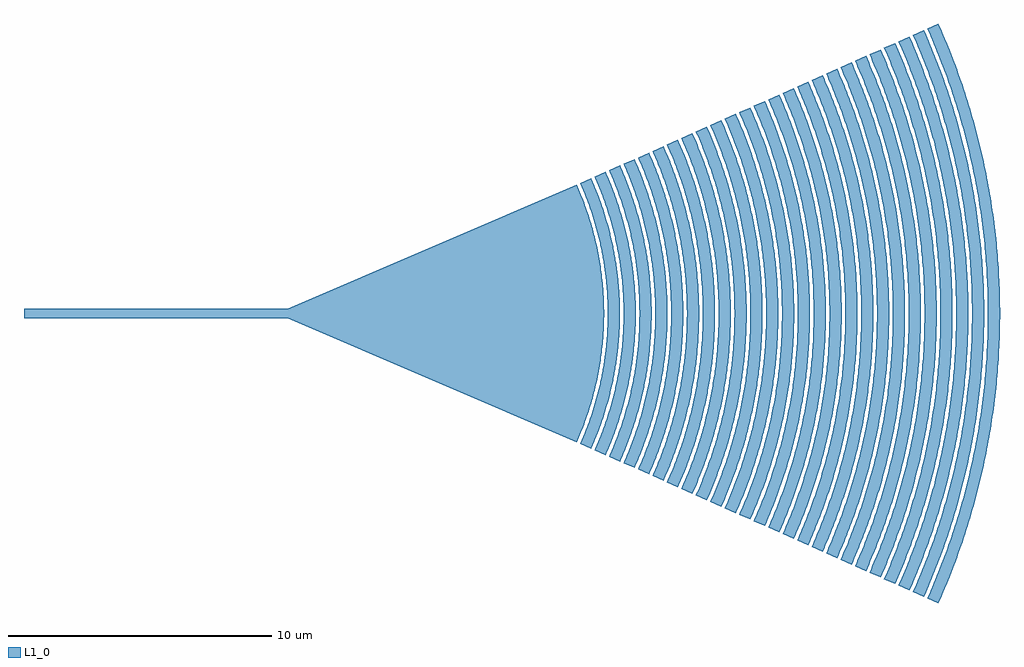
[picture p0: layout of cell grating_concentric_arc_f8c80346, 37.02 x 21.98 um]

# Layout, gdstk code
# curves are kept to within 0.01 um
import gdstk
lib = gdstk.Library(unit=1e-6, precision=2e-09)
def R(c, l, rs):  # rectangles x0, y0, x1, y1
    for r in rs: c.add(gdstk.rectangle(r[:2], r[2:], *l))
def P(c, l, *ps):  # polygons
    for p in ps: c.add(gdstk.Polygon(p, *l))
L1_0 = (1, 0)

straight_3aa2beef = lib.new_cell('straight_3aa2beef')
R(straight_3aa2beef, L1_0, [(0,-0.174,10,0.174)])

ring_f4adcfe0_transform_ = lib.new_cell('ring_f4adcfe0_transform_996c9cef')
P(ring_f4adcfe0_transform_, L1_0, [(11.094,-4.94),(11.338,-4.352),(11.506,-3.886),(11.674,-3.348),(11.8,-2.87),(11.948,-2.178),(12.036,-1.62),(12.092,-1.128),(12.134,-0.494),(12.144,0.142),(12.12,0.776),(12.054,1.48),(11.948,2.178),(11.784,2.938),(11.572,3.686),(11.338,4.352),(11.094,4.94),(11.512,5.126),(11.738,4.584),(11.962,3.964),(12.172,3.262),(12.37,2.404),(12.498,1.608),(12.57,0.878),(12.6,0.146),(12.588,-0.586),(12.516,-1.462),(12.37,-2.404),(12.172,-3.262),(11.938,-4.034),(11.738,-4.584),(11.512,-5.126)])

ring_cc76d167_transform_ = lib.new_cell('ring_cc76d167_transform_9d055fe6')
P(ring_cc76d167_transform_, L1_0, [(11.642,-5.184),(11.872,-4.636),(12.074,-4.08),(12.272,-3.442),(12.402,-2.94),(12.552,-2.214),(12.65,-1.554),(12.714,-0.89),(12.74,-0.37),(12.74,0.37),(12.69,1.184),(12.6,1.92),(12.482,2.578),(12.33,3.226),(12.144,3.868),(11.898,4.568),(11.642,5.184),(12.06,5.37),(12.352,4.66),(12.602,3.934),(12.81,3.194),(12.974,2.444),(13.094,1.686),(13.17,0.92),(13.202,0.076),(13.188,-0.614),(13.104,-1.608),(12.974,-2.444),(12.772,-3.342),(12.532,-4.152),(12.352,-4.66),(12.06,-5.37)])

ring_0f97517a_transform_ = lib.new_cell('ring_0f97517a_transform_7cc032cf')
P(ring_0f97517a_transform_, L1_0, [(12.192,-5.428),(12.46,-4.782),(12.644,-4.272),(12.85,-3.604),(13.004,-3.002),(13.086,-2.622),(13.216,-1.858),(13.302,-1.086),(13.338,-0.466),(13.344,0.232),(13.302,1.086),(13.216,1.858),(13.086,2.622),(12.93,3.304),(12.74,3.976),(12.46,4.782),(12.192,5.428),(12.608,5.614),(12.914,4.872),(13.2,4.036),(13.412,3.262),(13.564,2.554),(13.69,1.762),(13.774,0.882),(13.802,0.16),(13.788,-0.642),(13.7,-1.682),(13.564,-2.554),(13.392,-3.34),(13.246,-3.882),(13.102,-4.342),(12.886,-4.946),(12.608,-5.614)])

ring_10739e23_transform_ = lib.new_cell('ring_10739e23_transform_e5319485')
P(ring_10739e23_transform_, L1_0, [(12.74,-5.672),(12.9,-5.3),(13.16,-4.618),(13.384,-3.922),(13.552,-3.296),(13.706,-2.582),(13.822,-1.86),(13.894,-1.216),(13.938,-0.486),(13.938,0.486),(13.894,1.216),(13.822,1.86),(13.706,2.582),(13.492,3.532),(13.264,4.31),(13.02,4.998),(12.74,5.672),(13.158,5.858),(13.506,5.004),(13.774,4.21),(13.996,3.402),(14.17,2.584),(14.286,1.838),(14.374,0.922),(14.402,0.168),(14.388,-0.67),(14.306,-1.672),(14.17,-2.584),(13.934,-3.646),(13.646,-4.61),(13.386,-5.318),(13.158,-5.858)])

ring_61d46655_transform_ = lib.new_cell('ring_61d46655_transform_b06baf4c')
P(ring_61d46655_transform_, L1_0, [(13.29,-5.916),(13.52,-5.37),(13.782,-4.656),(14.03,-3.846),(14.212,-3.108),(14.326,-2.526),(14.428,-1.856),(14.506,-1.1),(14.538,-0.508),(14.546,0.17),(14.506,1.1),(14.406,2.024),(14.28,2.776),(14.094,3.602),(13.912,4.254),(13.67,4.976),(13.29,5.916),(13.706,6.102),(14.038,5.296),(14.296,4.554),(14.558,3.63),(14.728,2.862),(14.87,2.002),(14.954,1.22),(15.002,0.262),(14.992,-0.61),(14.922,-1.568),(14.776,-2.606),(14.558,-3.63),(14.27,-4.636),(13.976,-5.458),(13.706,-6.102)])

ring_662bcd47_transform_ = lib.new_cell('ring_662bcd47_transform_31ea02af')
P(ring_662bcd47_transform_, L1_0, [(13.838,-6.162),(14.078,-5.592),(14.322,-4.932),(14.512,-4.344),(14.76,-3.408),(14.918,-2.63),(15.024,-1.934),(15.098,-1.232),(15.142,-0.44),(15.142,0.44),(15.098,1.232),(14.988,2.196),(14.87,2.89),(14.698,3.664),(14.434,4.596),(14.142,5.428),(13.838,6.162),(14.256,6.346),(14.6,5.508),(14.896,4.648),(15.118,3.864),(15.318,2.978),(15.44,2.262),(15.56,1.18),(15.604,0.182),(15.592,-0.636),(15.528,-1.54),(15.44,-2.262),(15.368,-2.71),(15.184,-3.598),(14.896,-4.648),(14.6,-5.508),(14.256,-6.346)])

ring_48db991d_transform_ = lib.new_cell('ring_48db991d_transform_f4fe037c')
P(ring_48db991d_transform_, L1_0, [(14.386,-6.406),(14.67,-5.73),(14.92,-5.04),(15.164,-4.252),(15.324,-3.632),(15.476,-2.914),(15.62,-2.01),(15.704,-1.19),(15.742,-0.458),(15.742,0.458),(15.704,1.19),(15.608,2.1),(15.442,3.094),(15.236,3.988),(15.006,4.78),(14.67,5.73),(14.386,6.406),(14.804,6.592),(15.196,5.63),(15.47,4.828),(15.724,3.92),(15.908,3.092),(16.048,2.256),(16.152,1.318),(16.196,0.566),(16.196,-0.566),(16.126,-1.6),(16.006,-2.536),(15.908,-3.092),(15.79,-3.646),(15.628,-4.286),(15.47,-4.828),(15.196,-5.63),(14.804,-6.592)])

ring_787169b0_transform_ = lib.new_cell('ring_787169b0_transform_7dcaa34c')
P(ring_787169b0_transform_, L1_0, [(14.936,-6.65),(15.264,-5.858),(15.52,-5.142),(15.742,-4.414),(15.952,-3.584),(16.084,-2.932),(16.228,-1.992),(16.31,-1.14),(16.342,-0.476),(16.336,0.666),(16.27,1.614),(16.148,2.558),(16.012,3.306),(15.792,4.232),(15.578,4.962),(15.264,5.858),(14.936,6.65),(15.352,6.836),(15.69,6.022),(16.014,5.1),(16.234,4.35),(16.478,3.302),(16.656,2.242),(16.742,1.464),(16.796,0.586),(16.802,-0.392),(16.778,-0.978),(16.724,-1.66),(16.584,-2.726),(16.478,-3.302),(16.352,-3.876),(16.072,-4.914),(15.724,-5.932),(15.352,-6.836)])

ring_90eb2d99_transform_ = lib.new_cell('ring_90eb2d99_transform_cc132c77')
P(ring_90eb2d99_transform_, L1_0, [(15.484,-6.894),(15.824,-6.074),(16.09,-5.332),(16.294,-4.672),(16.538,-3.716),(16.726,-2.748),(16.824,-2.066),(16.902,-1.28),(16.946,-0.394),(16.94,0.592),(16.886,1.478),(16.798,2.262),(16.62,3.33),(16.398,4.292),(16.21,4.956),(15.894,5.89),(15.484,6.894),(15.902,7.08),(16.322,6.048),(16.646,5.09),(16.89,4.21),(17.106,3.222),(17.264,2.222),(17.364,1.214),(17.406,0.202),(17.396,-0.608),(17.322,-1.718),(17.16,-2.922),(16.938,-4.014),(16.676,-4.992),(16.322,-6.048),(15.902,-7.08)])

ring_9978a9f5_transform_ = lib.new_cell('ring_9978a9f5_transform_cc7a5b1b')
P(ring_9978a9f5_transform_, L1_0, [(16.034,-7.138),(16.348,-6.384),(16.628,-5.618),(16.898,-4.74),(17.124,-3.848),(17.302,-2.946),(17.42,-2.138),(17.508,-1.224),(17.546,-0.408),(17.54,0.612),(17.484,1.53),(17.366,2.544),(17.188,3.548),(16.978,4.444),(16.692,5.424),(16.348,6.384),(16.034,7.138),(16.45,7.324),(16.812,6.454),(17.094,5.664),(17.394,4.66),(17.636,3.642),(17.802,2.714),(17.93,1.674),(18,0.524),(18,-0.524),(17.93,-1.674),(17.802,-2.714),(17.592,-3.846),(17.31,-4.964),(17.094,-5.664),(16.922,-6.158),(16.696,-6.746),(16.45,-7.324)])

ring_49640542_transform_ = lib.new_cell('ring_49640542_transform_e9898b6f')
P(ring_49640542_transform_, L1_0, [(16.582,-7.382),(16.908,-6.604),(17.23,-5.71),(17.448,-5.004),(17.71,-3.98),(17.876,-3.152),(18.016,-2.212),(18.1,-1.372),(18.144,-0.528),(18.144,0.528),(18.1,1.372),(18.052,1.898),(17.96,2.63),(17.798,3.566),(17.56,4.596),(17.296,5.508),(16.984,6.406),(16.582,7.382),(17,7.568),(17.372,6.668),(17.698,5.75),(18.002,4.712),(18.266,3.55),(18.442,2.482),(18.546,1.514),(18.6,0.542),(18.6,-0.542),(18.528,-1.73),(18.47,-2.268),(18.362,-3.018),(18.224,-3.762),(18.106,-4.292),(17.826,-5.336),(17.486,-6.364),(17.294,-6.87),(17,-7.568)])

ring_f9f5d587_transform_ = lib.new_cell('ring_f9f5d587_transform_b24f458f')
P(ring_f9f5d587_transform_, L1_0, [(17.13,-7.628),(17.546,-6.618),(17.766,-6.002),(18.056,-5.064),(18.272,-4.218),(18.448,-3.364),(18.612,-2.286),(18.69,-1.526),(18.744,-0.546),(18.744,0.546),(18.69,1.526),(18.57,2.61),(18.408,3.578),(18.168,4.642),(17.868,5.69),(17.546,6.618),(17.13,7.628),(17.548,7.812),(17.768,7.3),(18.012,6.674),(18.37,5.616),(18.638,4.646),(18.856,3.666),(19.022,2.674),(19.136,1.674),(19.204,0.446),(19.204,-0.446),(19.136,-1.674),(18.99,-2.894),(18.766,-4.102),(18.61,-4.756),(18.434,-5.402),(18.234,-6.042),(18.012,-6.674),(17.768,-7.3),(17.548,-7.812)])

ring_7be19d6e_transform_ = lib.new_cell('ring_7be19d6e_transform_836821f8')
P(ring_7be19d6e_transform_, L1_0, [(17.68,-7.872),(18.068,-6.936),(18.406,-5.98),(18.664,-5.118),(18.882,-4.244),(19.078,-3.25),(19.222,-2.246),(19.306,-1.35),(19.348,-0.45),(19.348,0.45),(19.298,1.462),(19.18,2.582),(18.976,3.804),(18.722,4.9),(18.44,5.874),(18.068,6.936),(17.68,7.872),(18.096,8.058),(18.494,7.098),(18.73,6.45),(18.91,5.902),(19.164,5.016),(19.328,4.344),(19.446,3.78),(19.648,2.528),(19.744,1.612),(19.804,0.46),(19.798,-0.692),(19.724,-1.842),(19.648,-2.528),(19.566,-3.098),(19.446,-3.78),(19.328,-4.344),(19.01,-5.57),(18.84,-6.122),(18.614,-6.776),(18.324,-7.528),(18.096,-8.058)])

ring_e3361833_transform_ = lib.new_cell('ring_e3361833_transform_b752e46a')
P(ring_e3361833_transform_, L1_0, [(18.228,-8.116),(18.544,-7.366),(18.904,-6.386),(19.212,-5.388),(19.468,-4.376),(19.69,-3.236),(19.804,-2.432),(19.888,-1.624),(19.948,-0.464),(19.942,0.696),(19.878,1.74),(19.726,3.006),(19.564,3.922),(19.332,4.94),(19.048,5.944),(18.67,7.042),(18.228,8.116),(18.646,8.302),(19.096,7.204),(19.484,6.08),(19.804,4.938),(20.058,3.778),(20.228,2.722),(20.352,1.542),(20.402,0.594),(20.402,-0.594),(20.376,-1.186),(20.322,-1.898),(20.228,-2.722),(20.14,-3.31),(19.914,-4.476),(19.62,-5.626),(19.448,-6.194),(19.18,-6.98),(18.924,-7.646),(18.646,-8.302)])

ring_f72300f1_transform_ = lib.new_cell('ring_f72300f1_transform_91cd2478')
P(ring_f72300f1_transform_, L1_0, [(18.776,-8.36),(19.146,-7.478),(19.51,-6.466),(19.758,-5.666),(20.028,-4.624),(20.242,-3.57),(20.386,-2.624),(20.496,-1.554),(20.546,-0.598),(20.546,0.598),(20.476,1.792),(20.32,3.098),(20.154,4.04),(20.028,4.624),(19.854,5.32),(19.548,6.352),(19.146,7.478),(18.776,8.36),(19.194,8.546),(19.616,7.53),(20.02,6.376),(20.326,5.32),(20.5,4.608),(20.624,4.01),(20.822,2.804),(20.896,2.196),(20.96,1.466),(21.008,0.366),(21.002,-0.612),(20.976,-1.222),(20.92,-1.952),(20.854,-2.56),(20.752,-3.286),(20.648,-3.888),(20.5,-4.608),(20.23,-5.674),(20.02,-6.376),(19.744,-7.186),(19.526,-7.758),(19.194,-8.546)])

ring_4829238c_transform_ = lib.new_cell('ring_4829238c_transform_be8d7875')
P(ring_4829238c_transform_, L1_0, [(19.326,-8.604),(19.75,-7.582),(20.12,-6.538),(20.402,-5.594),(20.64,-4.638),(20.834,-3.674),(21.012,-2.456),(21.104,-1.476),(21.152,-0.37),(21.138,0.862),(21.052,2.088),(20.914,3.188),(20.718,4.278),(20.466,5.356),(20.12,6.538),(19.75,7.582),(19.326,8.604),(19.742,8.79),(20.176,7.744),(20.554,6.678),(20.908,5.472),(21.19,4.246),(21.384,3.132),(21.53,1.884),(21.594,0.88),(21.61,0.252),(21.606,-0.502),(21.582,-1.132),(21.53,-1.884),(21.466,-2.508),(21.346,-3.38),(21.238,-4),(21.086,-4.738),(20.908,-5.472),(20.74,-6.078),(20.554,-6.678),(20.308,-7.392),(20.038,-8.096),(19.742,-8.79)])

ring_55fa4479_transform_ = lib.new_cell('ring_55fa4479_transform_197f11a7')
P(ring_55fa4479_transform_, L1_0, [(19.874,-8.848),(20.356,-7.678),(20.652,-6.844),(20.948,-5.874),(21.254,-4.646),(21.468,-3.528),(21.594,-2.652),(21.694,-1.644),(21.75,-0.506),(21.754,0.254),(21.738,0.886),(21.662,2.022),(21.526,3.154),(21.332,4.276),(21.11,5.264),(20.948,5.874),(20.73,6.602),(20.356,7.678),(19.874,8.848),(20.292,9.034),(20.782,7.84),(21.204,6.618),(21.456,5.748),(21.754,4.492),(21.978,3.22),(22.128,1.936),(22.194,0.904),(22.212,0.13),(22.206,-0.516),(22.182,-1.162),(22.128,-1.936),(21.978,-3.22),(21.754,-4.492),(21.584,-5.248),(21.422,-5.874),(21.204,-6.618),(20.96,-7.354),(20.69,-8.08),(20.292,-9.034)])

ring_2a5f8cb6_transform_ = lib.new_cell('ring_2a5f8cb6_transform_b8fe8370')
P(ring_2a5f8cb6_transform_, L1_0, [(20.424,-9.092),(20.872,-8.012),(21.222,-7.032),(21.526,-6.038),(21.812,-4.902),(21.994,-4.01),(22.19,-2.724),(22.302,-1.56),(22.35,-0.52),(22.35,0.52),(22.326,1.17),(22.282,1.818),(22.174,2.854),(22.06,3.626),(21.946,4.266),(21.812,4.902),(21.628,5.66),(21.302,6.784),(20.872,8.012),(20.424,9.092),(20.84,9.278),(21.298,8.176),(21.696,7.05),(22.07,5.776),(22.368,4.484),(22.572,3.306),(22.674,2.516),(22.738,1.856),(22.804,0.664),(22.804,-0.664),(22.738,-1.856),(22.674,-2.516),(22.552,-3.438),(22.342,-4.614),(22.136,-5.518),(21.966,-6.16),(21.696,-7.05),(21.482,-7.678),(21.152,-8.546),(20.84,-9.278)])

ring_67220e7f_transform_ = lib.new_cell('ring_67220e7f_transform_32aad21e')
P(ring_67220e7f_transform_, L1_0, [(20.972,-9.338),(21.384,-8.352),(21.75,-7.348),(22.104,-6.2),(22.398,-5.034),(22.608,-3.986),(22.802,-2.666),(22.91,-1.468),(22.954,-0.4),(22.956,0.268),(22.938,0.934),(22.858,2.134),(22.734,3.194),(22.51,4.512),(22.242,5.684),(22.068,6.328),(21.834,7.094),(21.384,8.352),(20.972,9.338),(21.39,9.524),(21.81,8.518),(22.094,7.752),(22.31,7.106),(22.544,6.322),(22.718,5.664),(22.984,4.468),(23.186,3.258),(23.286,2.448),(23.336,1.904),(23.4,0.818),(23.408,-0.544),(23.382,-1.226),(23.312,-2.176),(23.256,-2.718),(23.126,-3.662),(22.874,-5.002),(22.544,-6.322),(22.31,-7.106),(22.002,-8.008),(21.76,-8.644),(21.39,-9.524)])

ring_4badb50c_transform_ = lib.new_cell('ring_4badb50c_transform_23129b1b')
P(ring_4badb50c_transform_, L1_0, [(21.52,-9.582),(21.944,-8.57),(22.362,-7.41),(22.682,-6.362),(22.954,-5.3),(23.2,-4.09),(23.382,-2.87),(23.5,-1.644),(23.552,-0.548),(23.544,0.822),(23.468,2.054),(23.328,3.278),(23.246,3.82),(23.098,4.63),(22.954,5.3),(22.79,5.964),(22.446,7.15),(22.042,8.314),(21.52,9.582),(21.938,9.768),(22.42,8.606),(22.882,7.288),(23.232,6.08),(23.546,4.72),(23.74,3.618),(23.836,2.926),(23.91,2.232),(23.956,1.676),(24,0.838),(24.008,-0.558),(23.974,-1.396),(23.91,-2.232),(23.836,-2.926),(23.74,-3.618),(23.65,-4.17),(23.49,-4.992),(23.16,-6.35),(22.882,-7.288),(22.614,-8.082),(22.266,-8.996),(21.938,-9.768)])

ring_a3c04088_transform_ = lib.new_cell('ring_a3c04088_transform_5a69e0ed')
P(ring_a3c04088_transform_, L1_0, [(22.07,-9.826),(22.452,-8.92),(22.888,-7.732),(23.26,-6.524),(23.57,-5.298),(23.792,-4.196),(23.978,-2.944),(24.09,-1.826),(24.152,-0.562),(24.144,0.844),(24.1,1.686),(24.054,2.246),(23.904,3.502),(23.688,4.748),(23.406,5.98),(23.062,7.198),(22.604,8.526),(22.07,9.826),(22.486,10.012),(22.98,8.822),(23.274,8.014),(23.454,7.47),(23.776,6.37),(23.952,5.676),(24.106,4.978),(24.266,4.134),(24.376,3.426),(24.522,2.146),(24.6,0.86),(24.612,-0.43),(24.582,-1.288),(24.534,-2.002),(24.376,-3.426),(24.266,-4.134),(24.106,-4.978),(23.952,-5.676),(23.776,-6.37),(23.54,-7.196),(23.226,-8.15),(22.876,-9.088),(22.486,-10.012)])

ring_1ff15b4e_transform_ = lib.new_cell('ring_1ff15b4e_transform_5a4ed5ed')
P(ring_1ff15b4e_transform_, L1_0, [(22.618,-10.07),(22.902,-9.408),(23.166,-8.738),(23.548,-7.65),(23.916,-6.408),(24.188,-5.288),(24.432,-4.016),(24.592,-2.874),(24.708,-1.584),(24.756,-0.432),(24.744,0.864),(24.708,1.584),(24.652,2.302),(24.498,3.588),(24.358,4.442),(24.248,5.006),(24.092,5.71),(23.916,6.408),(23.592,7.514),(23.166,8.738),(22.902,9.408),(22.618,10.07),(23.036,10.256),(23.488,9.174),(23.794,8.348),(23.982,7.792),(24.198,7.092),(24.394,6.384),(24.57,5.672),(24.724,4.956),(24.95,3.654),(25.046,2.928),(25.12,2.198),(25.2,0.88),(25.212,-0.44),(25.188,-1.174),(25.144,-1.906),(25.046,-2.928),(24.95,-3.654),(24.858,-4.234),(24.694,-5.1),(24.502,-5.958),(24.318,-6.668),(24.114,-7.372),(23.794,-8.348),(23.38,-9.446),(23.036,-10.256)])

ring_53674228_transform_ = lib.new_cell('ring_53674228_transform_b4f40b9b')
P(ring_53674228_transform_, L1_0, [(23.168,-10.314),(23.676,-9.088),(23.93,-8.396),(24.164,-7.696),(24.496,-6.564),(24.806,-5.272),(25.048,-3.968),(25.188,-2.944),(25.308,-1.622),(25.356,-0.442),(25.344,0.886),(25.264,2.21),(25.188,2.944),(25.092,3.676),(24.866,4.984),(24.71,5.704),(24.534,6.42),(24.164,7.696),(23.93,8.396),(23.676,9.088),(23.168,10.314),(23.584,10.5),(24.102,9.252),(24.41,8.404),(24.644,7.692),(24.858,6.972),(25.05,6.246),(25.342,4.926),(25.45,4.334),(25.586,3.444),(25.718,2.25),(25.764,1.65),(25.806,0.75),(25.81,-0.6),(25.764,-1.65),(25.718,-2.25),(25.642,-2.998),(25.544,-3.742),(25.398,-4.63),(25.252,-5.368),(25.086,-6.1),(24.898,-6.826),(24.644,-7.692),(24.26,-8.83),(23.88,-9.81),(23.584,-10.5)])

ring_3dbb589f_transform_ = lib.new_cell('ring_3dbb589f_transform_01233105')
P(ring_3dbb589f_transform_, L1_0, [(23.716,-10.558),(24.236,-9.304),(24.69,-8.022),(25.076,-6.718),(25.362,-5.546),(25.592,-4.36),(25.708,-3.612),(25.802,-2.864),(25.908,-1.66),(25.954,-0.604),(25.95,0.756),(25.908,1.66),(25.862,2.262),(25.708,3.612),(25.484,4.954),(25.19,6.28),(24.996,7.01),(24.782,7.734),(24.546,8.452),(24.29,9.162),(23.956,10.004),(23.716,10.558),(24.134,10.744),(24.662,9.466),(24.928,8.746),(25.172,8.016),(25.556,6.688),(25.872,5.342),(26.016,4.588),(26.16,3.676),(26.256,2.914),(26.33,2.15),(26.406,0.768),(26.41,-0.614),(26.388,-1.23),(26.33,-2.15),(26.256,-2.914),(26.116,-3.98),(26.016,-4.588),(25.808,-5.642),(25.632,-6.39),(25.436,-7.134),(25.172,-8.016),(24.824,-9.036),(24.494,-9.896),(24.134,-10.744)])

ring_790e9277_transform_ = lib.new_cell('ring_790e9277_transform_1b683e4a')
P(ring_790e9277_transform_, L1_0, [(24.264,-10.804),(24.684,-9.806),(25.164,-8.502),(25.446,-7.618),(25.616,-7.024),(25.948,-5.674),(26.21,-4.308),(26.382,-3.084),(26.46,-2.314),(26.516,-1.544),(26.56,-0.31),(26.56,0.31),(26.532,1.236),(26.432,2.622),(26.258,4.002),(26.012,5.372),(25.696,6.726),(25.308,8.06),(25.064,8.794),(24.852,9.374),(24.51,10.236),(24.264,10.804),(24.682,10.99),(24.992,10.266),(25.28,9.536),(25.744,8.2),(26.138,6.84),(26.46,5.464),(26.71,4.072),(26.886,2.668),(26.952,1.884),(26.996,1.1),(27.018,0.158),(27.014,-0.472),(26.996,-1.1),(26.94,-2.042),(26.87,-2.824),(26.776,-3.604),(26.66,-4.382),(26.522,-5.156),(26.326,-6.078),(26.098,-6.992),(25.838,-7.9),(25.442,-9.092),(24.992,-10.266),(24.682,-10.99)])

grating_concentric_arc_f = lib.new_cell('grating_concentric_arc_f8c80346')
P(grating_concentric_arc_f, L1_0, [(0,0.174),(0,-0.174),(10.962,-4.882),(11.006,-4.786),(11.24,-4.202),(11.476,-3.508),(11.644,-2.902),(11.78,-2.29),(11.868,-1.774),(11.954,-1.046),(11.99,-0.524),(12,0.104),(11.99,0.524),(11.934,1.254),(11.836,1.98),(11.738,2.496),(11.564,3.206),(11.38,3.808),(11.126,4.496),(10.962,4.882)])
grating_concentric_arc_f.add(gdstk.Reference(straight_3aa2beef, (-10,0)))
grating_concentric_arc_f.add(gdstk.Reference(ring_f4adcfe0_transform_, (0,0)))
grating_concentric_arc_f.add(gdstk.Reference(ring_cc76d167_transform_, (0,0)))
grating_concentric_arc_f.add(gdstk.Reference(ring_0f97517a_transform_, (0,0)))
grating_concentric_arc_f.add(gdstk.Reference(ring_10739e23_transform_, (0,0)))
grating_concentric_arc_f.add(gdstk.Reference(ring_61d46655_transform_, (0,0)))
grating_concentric_arc_f.add(gdstk.Reference(ring_662bcd47_transform_, (0,0)))
grating_concentric_arc_f.add(gdstk.Reference(ring_48db991d_transform_, (0,0)))
grating_concentric_arc_f.add(gdstk.Reference(ring_787169b0_transform_, (0,0)))
grating_concentric_arc_f.add(gdstk.Reference(ring_90eb2d99_transform_, (0,0)))
grating_concentric_arc_f.add(gdstk.Reference(ring_9978a9f5_transform_, (0,0)))
grating_concentric_arc_f.add(gdstk.Reference(ring_49640542_transform_, (0,0)))
grating_concentric_arc_f.add(gdstk.Reference(ring_f9f5d587_transform_, (0,0)))
grating_concentric_arc_f.add(gdstk.Reference(ring_7be19d6e_transform_, (0,0)))
grating_concentric_arc_f.add(gdstk.Reference(ring_e3361833_transform_, (0,0)))
grating_concentric_arc_f.add(gdstk.Reference(ring_f72300f1_transform_, (0,0)))
grating_concentric_arc_f.add(gdstk.Reference(ring_4829238c_transform_, (0,0)))
grating_concentric_arc_f.add(gdstk.Reference(ring_55fa4479_transform_, (0,0)))
grating_concentric_arc_f.add(gdstk.Reference(ring_2a5f8cb6_transform_, (0,0)))
grating_concentric_arc_f.add(gdstk.Reference(ring_67220e7f_transform_, (0,0)))
grating_concentric_arc_f.add(gdstk.Reference(ring_4badb50c_transform_, (0,0)))
grating_concentric_arc_f.add(gdstk.Reference(ring_a3c04088_transform_, (0,0)))
grating_concentric_arc_f.add(gdstk.Reference(ring_1ff15b4e_transform_, (0,0)))
grating_concentric_arc_f.add(gdstk.Reference(ring_53674228_transform_, (0,0)))
grating_concentric_arc_f.add(gdstk.Reference(ring_3dbb589f_transform_, (0,0)))
grating_concentric_arc_f.add(gdstk.Reference(ring_790e9277_transform_, (0,0)))

lib.write_gds('grating_concentric_arc_f8c80346.gds')
